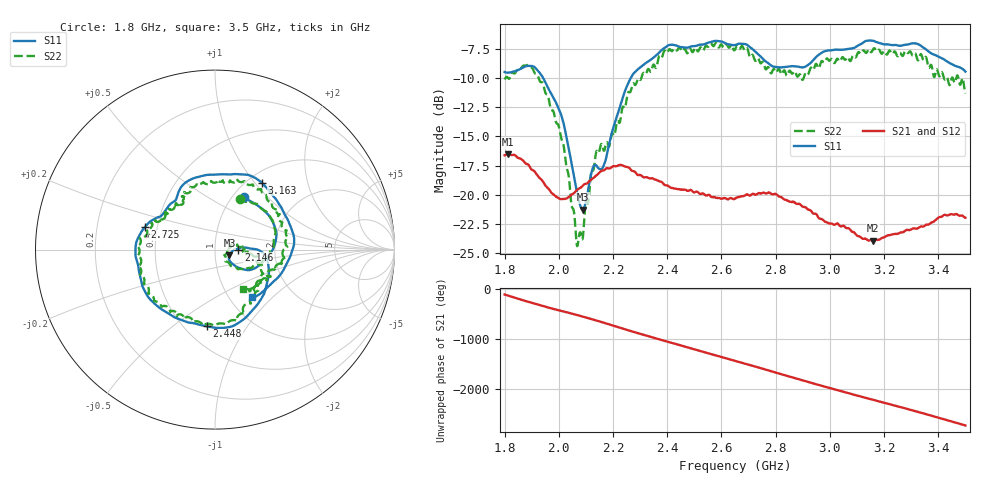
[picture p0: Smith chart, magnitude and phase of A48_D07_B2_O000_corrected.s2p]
! Created with skrf 1.9.0 (http://scikit-rf.org).
# Hz S RI R 50.0
!freq ReS11 ImS11 ReS21 ImS21 ReS12 ImS12 ReS22 ImS22
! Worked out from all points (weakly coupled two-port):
!   1601 points, 1.8 GHz to 3.5 GHz, reference 50 ohm
!   highest |S21| = -16.52 dB at 1.812 GHz (marker M1); lowest = -23.9 dB at 3.16 GHz (marker M2)
!   lowest |S11| = -21.2 dB at 2.088 GHz (marker M3), VSWR 1.19, Z = 58.6 - j3.87 ohm
!   |S11| at or under -10 dB: 1.942 GHz to 2.265 GHz (322.9 MHz wide, 15.3 % of centre)
!   |S22| runs from -24.4 to -7.0 dB; largest |S21 - S12| = 0.0027
!   S11 on the Smith chart (normalised r, x): 1.8 GHz: 1.12, +0.74; 2.146 GHz: 1.30, -0.00; 2.448 GHz: 0.64, -0.67; 2.725 GHz: 0.43, +0.13; 3.163 GHz: 1.15, +1.09; 3.5 GHz: 1.27, -0.76
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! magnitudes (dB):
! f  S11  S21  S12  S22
! 1.8 GHz  -9.5  -16.6  -16.6  -10.1
! 1.812 GHz  -9.5  -16.5  -16.5  -10.0
! 1.882 GHz  -9.0  -17.4  -17.4  -8.9
! 1.94 GHz  -9.9  -18.8  -18.8  -10.4
! 2.011 GHz  -13.4  -20.3  -20.3  -15.3
! 2.066 GHz  -19.6  -19.6  -19.6  -24.2
! 2.084 GHz  -21.2  -19.3  -19.3  -23.6
! 2.088 GHz  -21.2  -19.2  -19.2  -23.7
! 2.125 GHz  -17.7  -18.6  -18.6  -17.9
! 2.146 GHz  -17.7  -18.2  -18.2  -16.4
! 2.188 GHz  -15.4  -17.7  -17.7  -15.7
! 2.264 GHz  -10.0  -17.8  -17.8  -11.2
! 2.367 GHz  -7.9  -18.8  -18.7  -8.3
! 2.448 GHz  -7.3  -19.5  -19.5  -7.4
! 2.65 GHz  -7.2  -20.3  -20.3  -7.6
! 2.725 GHz  -7.7  -20.0  -20.0  -8.5
! 2.798 GHz  -9.0  -19.9  -19.9  -9.4
! 2.934 GHz  -8.6  -21.5  -21.4  -9.2
! 3.16 GHz  -6.8  -23.9  -23.9  -7.5
! 3.163 GHz  -6.8  -23.9  -23.9  -7.4
! 3.217 GHz  -7.1  -23.4  -23.4  -7.7
! 3.5 GHz  -9.4  -22.0  -21.9  -11.3
